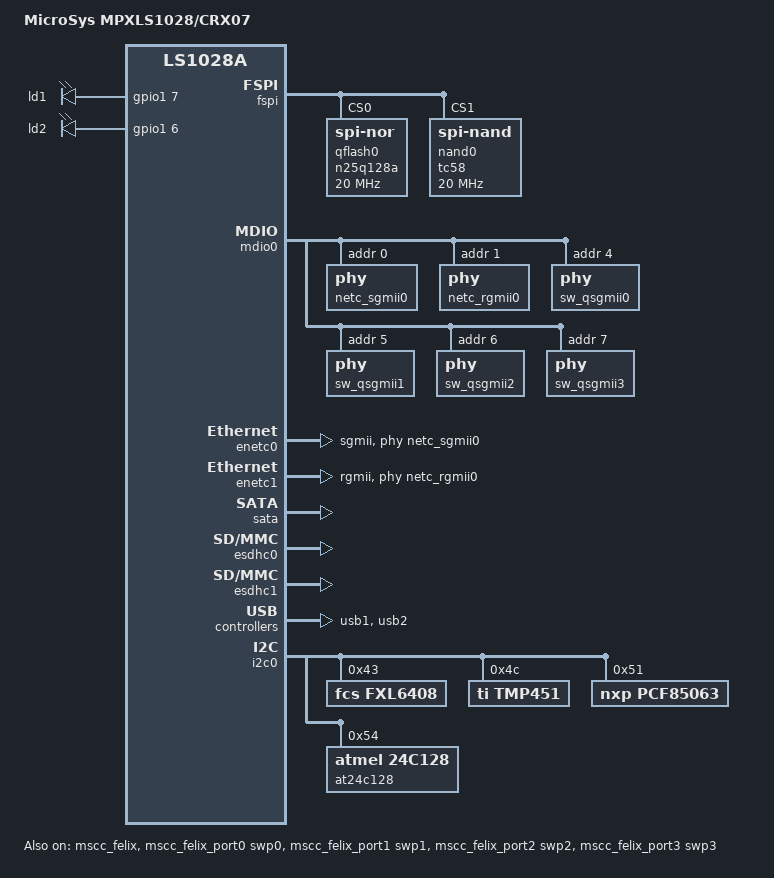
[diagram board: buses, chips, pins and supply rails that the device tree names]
// SPDX-License-Identifier: GPL-2.0+ OR X11
/*
 * MicroSys MPXLS1028 device tree
 *
 * Copyright 2018 NXP
 * Copyright (C) 2019-2021 MicroSys Electronics GmbH
 */

/dts-v1/;

#include "fsl-ls1028a.dtsi"

/ {
	model = "MicroSys MPXLS1028/CRX07";
	compatible = "fsl,ls1028a-rdb", "fsl,ls1028a";
	aliases {
		spi0 = &fspi;
	};
	
      leds {
          compatible = "gpio-leds";
          ld1 {
              label = "ld1";
              gpios = <&gpio1 7 0>;
              default-state = "off";
          };
          ld2 {
              label = "ld2";
              gpios = <&gpio1 6 0>;
              default-state = "off";
          };
      };
};

&fspi {
	bus-num = <0>;
	status = "okay";

	// 16MB NOR
	qflash0: n25q128a@0 {
		#address-cells = <1>;
		#size-cells = <1>;
		compatible = "jedec,spi-nor","spi-flash";
		spi-max-frequency = <20000000>;
		reg = <0>;
		fspi-rx-bus-width = <1>;
        fspi-tx-bus-width = <1>;
	 };
	 
	// 512MB NAND
	nand0: tc58@0 {
		#address-cells = <1>;
		#size-cells = <1>;
		compatible = "spi-nand";
		spi-max-frequency = <20000000>;
		reg = <1>;
        fspi-rx-bus-width = <1>;
        fspi-tx-bus-width = <1>;
	 };
};

&mdio0 {
    status = "okay";

    netc_sgmii0: phy@0 {
        reg = <0>;
    };

    netc_rgmii0: phy@1 {
        reg = <1>;
    };

    sw_qsgmii0: phy@4 {
        reg = <4>;
    };

    sw_qsgmii1: phy@5 {
        reg = <5>;
    };

    sw_qsgmii2: phy@6 {
        reg = <6>;
    };

    sw_qsgmii3: phy@7 {
        reg = <7>;
    };
};

&enetc0 {
    status = "okay";
    phy-mode = "sgmii";
    phy-handle = <&netc_sgmii0>;
};

&enetc1 {
    status = "okay";
    phy-mode = "rgmii";
    phy-handle = <&netc_rgmii0>;
};

&mscc_felix {
	status = "okay";
};

&mscc_felix_port0 {
	label = "swp0";
        status = "okay";
        phy-mode = "qsgmii";
        phy-handle = <&sw_qsgmii0>;
};

&mscc_felix_port1 {
	label = "swp1";
        phy-mode = "qsgmii";
        phy-handle = <&sw_qsgmii1>;
	status = "okay";
};

&mscc_felix_port2 {
	label = "swp2";
        phy-mode = "qsgmii";
        phy-handle = <&sw_qsgmii2>;
	status = "okay";
};

&mscc_felix_port3 {
	label = "swp3";
        phy-mode = "qsgmii";
        phy-handle = <&sw_qsgmii3>;
	status = "okay";
};

&sata {
	status = "okay";
};

&esdhc0 {
	status = "okay";
};

&esdhc1 {
	status = "okay";
};

&usb1 {
	status = "okay";
};

&usb2 {
	status = "okay";
};

&i2c0 {
    status = "okay";
    u-boot,dm-pre-reloc;

    fxl6408: gpio@43 {
        compatible = "fcs,fxl6408";
        reg = <0x43>;
        direction = [00];
        input-default-state = [1f];
        pull-config = [00 1f];
        u-boot,i2c-offset-len = <1>; /* one address byte */
    };

    tmp451: temp@4c {
        compatible = "ti,tmp451";
        reg = <0x4c>;
        u-boot,i2c-offset-len = <1>; /* one address byte */
    };

    pcf85063: rtc@51 {
        compatible = "nxp,pcf85063";
        reg = <0x51>;
        u-boot,i2c-offset-len = <1>; /* one address byte */
    };

    at24c128: eeprom@54 {
        compatible = "atmel,24c128";
        reg = <0x54>;
        u-boot,i2c-offset-len = <2>; /* two address bytes */
        write-page-size = <64>;
        page-write-delay = <5000>; /* 5ms delay when writing */
        max-speed = <400000>;
    };

};

&gpio0 {
    status = "disabled";
};

&gpio1 {
    status = "okay";
};

&gpio2 {
    status = "disabled";
};
